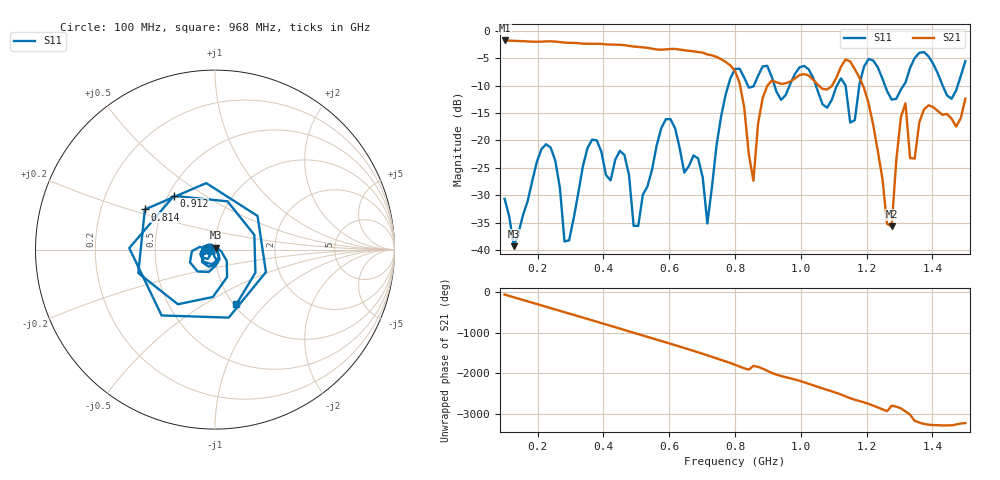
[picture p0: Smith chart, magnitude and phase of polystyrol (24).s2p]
! NanoVNA-App
! Date: 2025-09-26 09:42:04
! Start: 100MHz Stop: 1,5GHz Points: 101
! S-Parameter data: F S11 S21 S12 S22
# Hz S RI R 50
!  Frequency  S11_Real  S11_Imag  S21_Real  S21_Imag  S12_Real  S12_Imag  S22_Real  S22_Imag
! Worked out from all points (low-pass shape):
!   101 points, 100 MHz to 1.5 GHz, reference 50 ohm
!   highest |S21| = -1.79 dB at 100 MHz (marker M1); lowest = -35.7 dB at 1.276 GHz (marker M2)
!   |S21| within 3 dB of the highest: start of sweep to 743.9 MHz
!   lowest |S11| = -39.3 dB at 128 MHz (marker M3), VSWR 1.02, Z = 50.3 + j1.05 ohm
!   |S11| at or under -10 dB: start of sweep to 779.6 MHz; 1.046 GHz to 1.11 GHz (64.22 MHz wide, 5.96 % of centre); 1.256 GHz to 1.312 GHz (56.37 MHz wide, 4.39 % of centre)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
!   S12 and S22 are empty: the file has one direction only
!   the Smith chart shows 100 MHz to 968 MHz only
!   S11 on the Smith chart (normalised r, x): 100 MHz: 0.94, -0.01; 814 MHz: 0.40, +0.23; 912 MHz: 0.54, +0.37; 968 MHz: 1.03, -0.70
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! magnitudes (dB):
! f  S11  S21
! 100 MHz  -30.7  -1.8
! 128 MHz  -39.3  -1.9
! 212 MHz  -21.6  -2.0
! 254 MHz  -23.7  -2.0
! 282 MHz  -38.4  -2.2
! 338 MHz  -24.7  -2.4
! 464 MHz  -22.7  -2.6
! 506 MHz  -35.6  -3.0
! 576 MHz  -17.8  -3.5
! 688 MHz  -23.3  -3.9
! 716 MHz  -35.1  -4.3
! 800 MHz  -7.0  -7.3
! 814 MHz  -6.9  -9.6
! 856 MHz  -10.2  -27.4
! 912 MHz  -8.5  -9.1
! 968 MHz  -9.7  -9.3
! 1.038 GHz  -8.6  -9.0
! 1.178 GHz  -9.8  -8.5
! 1.276 GHz  -12.6  -35.7
! 1.318 GHz  -9.5  -13.3
! 1.346 GHz  -5.0  -23.3
! 1.5 GHz  -5.6  -12.4
